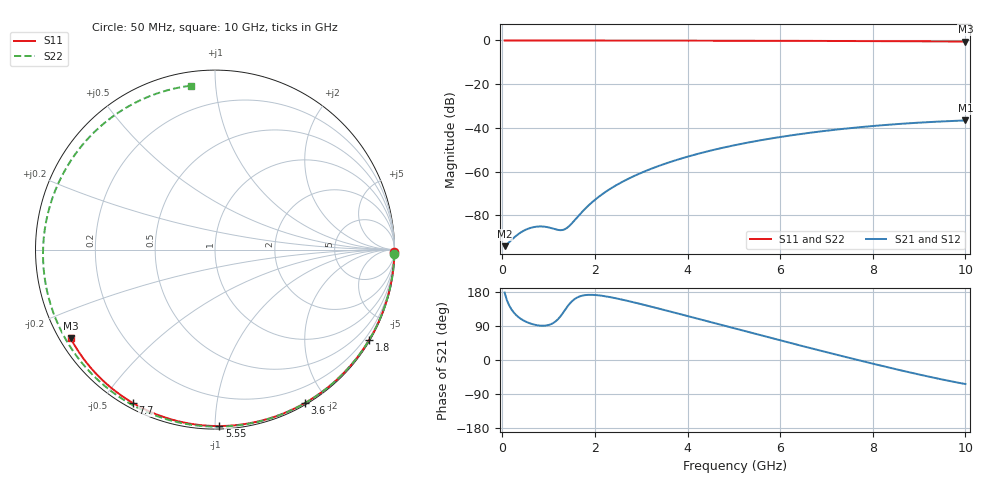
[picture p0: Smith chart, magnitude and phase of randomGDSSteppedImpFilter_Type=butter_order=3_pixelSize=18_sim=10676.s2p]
! freq	dB(S11)	phase(S11)	dB(S12)	phase(S12)
!  dB(S21)	phase(S21)	dB(S22)	phase(S22)
!S-par simulation data
#  GHz  S  DB  R 50
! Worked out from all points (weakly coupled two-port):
!   200 points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, 50 MHz to 10 GHz, reference 50 ohm
!   highest |S21| = -36.59 dB at 10 GHz (marker M1); lowest = -94.1 dB at 50 MHz (marker M2)
!   lowest |S11| = -0.5 dB at 10 GHz (marker M3), VSWR 34.70, Z = 1.56 - j14.2 ohm
!   |S11| at or under -10 dB: nowhere
!   |S22| runs from -0.7 to 0.0 dB; largest |S21 - S12| = 0
!   S11 on the Smith chart (normalised r, x): 50 MHz: open; 1.8 GHz: 0.03, -3.66; 3.6 GHz: 0.02, -1.75; 5.55 GHz: 0.02, -1.02; 7.7 GHz: 0.02, -0.60; 10 GHz: 0.03, -0.28
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0.05  -0.00 -0.9  -94.10 178.0  -94.10 178.0  -0.00 -1.3
0.8  -0.02 -13.7  -85.10 91.0  -85.10 91.0  -0.02 -21.3
1.65  -0.04 -28.0  -80.11 166.8  -80.11 166.8  -0.06 -43.4
1.75  -0.04 -29.7  -77.82 170.4  -77.82 170.4  -0.06 -46.0
1.8  -0.04 -30.5  -76.74 171.4  -76.74 171.4  -0.06 -47.3
2.1  -0.05 -35.5  -71.24 170.3  -71.24 170.3  -0.07 -54.9
2.45  -0.05 -41.2  -66.35 162.9  -66.35 162.9  -0.08 -63.7
2.9  -0.06 -48.5  -61.48 150.4  -61.48 150.4  -0.10 -74.8
3.4  -0.07 -56.4  -57.24 135.0  -57.24 135.0  -0.11 -86.9
3.6  -0.08 -59.5  -55.78 128.7  -55.78 128.7  -0.12 -91.7
4.3  -0.10 -70.2  -51.44 106.4  -51.44 106.4  -0.15 -108.3
5.05  -0.12 -81.4  -47.77 82.2  -47.77 82.2  -0.19 -125.8
5.55  -0.14 -88.6  -45.75 66.2  -45.75 66.2  -0.22 -137.5
6.15  -0.17 -97.1  -43.69 47.2  -43.69 47.2  -0.27 -151.7
6.7  -0.20 -104.6  -42.08 29.9  -42.08 29.9  -0.32 -165.0
7.2  -0.23 -111.4  -40.81 14.5  -40.81 14.5  -0.36 -177.6
7.7  -0.27 -118.1  -39.72 -0.7  -39.72 -0.7  -0.42 169.3
8.35  -0.32 -126.7  -38.53 -19.9  -38.53 -19.9  -0.49 151.2
8.8  -0.37 -132.6  -37.86 -32.8  -37.86 -32.8  -0.54 137.8
9.25  -0.41 -138.5  -37.30 -45.0  -37.30 -45.0  -0.60 123.6
9.65  -0.46 -143.7  -36.89 -55.2  -36.89 -55.2  -0.65 110.4
10  -0.50 -148.4  -36.59 -63.5  -36.59 -63.5  -0.70 98.3
